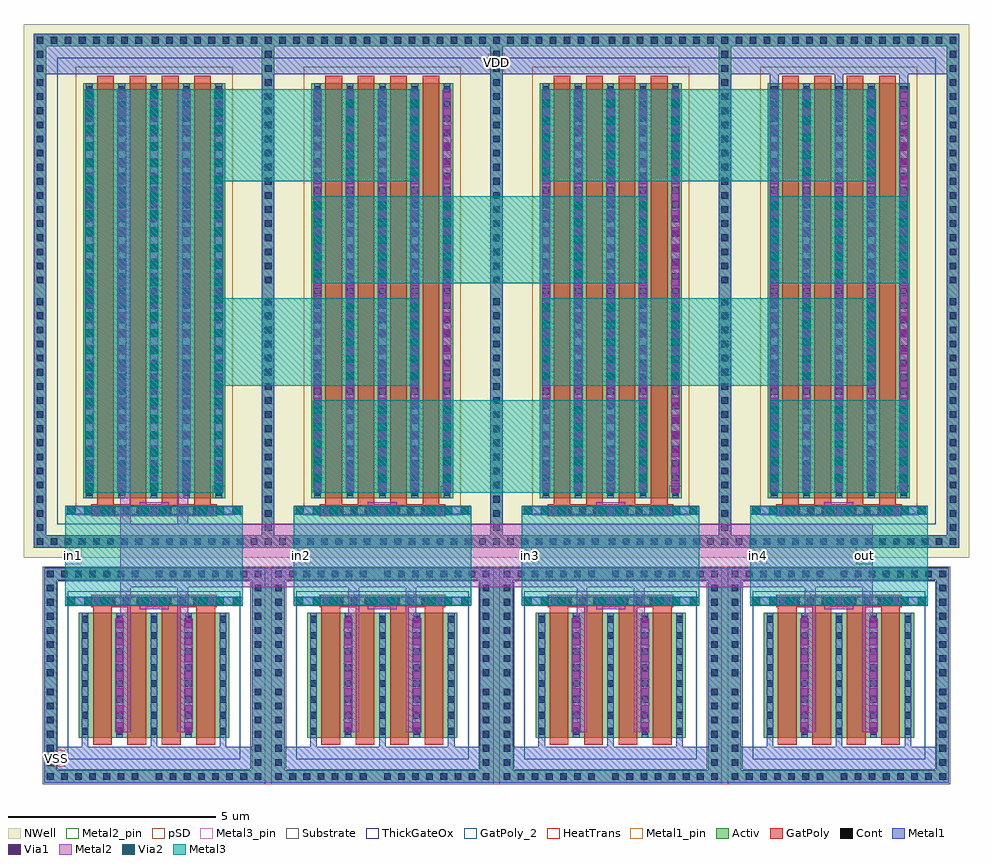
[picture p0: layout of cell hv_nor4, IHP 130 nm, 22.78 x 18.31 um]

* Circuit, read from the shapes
.subckt hv_nor4 VDD VSS in1 in2 in3 in4 out
XM1 out in1 VSS VSS sg13_hv_nmos w=3u l=0.45u m=4
XM2 out in2 VSS VSS sg13_hv_nmos w=3u l=0.45u m=4
XM3 out in3 VSS VSS sg13_hv_nmos w=3u l=0.45u m=4
XM4 out in4 VSS VSS sg13_hv_nmos w=3u l=0.45u m=4
XM5 out in1 n1 VDD sg13_hv_pmos w=10u l=0.4u m=4
XM6 n1 in2 n2 VDD sg13_hv_pmos w=10u l=0.4u m=4
XM7 n2 in3 n3 VDD sg13_hv_pmos w=10u l=0.4u m=4
XM8 n3 in4 VDD VDD sg13_hv_pmos w=10u l=0.4u m=4
.ends

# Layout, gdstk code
from math import pi, radians
import gdstk
lib = gdstk.Library(unit=1e-6, precision=1e-09)
def R(c, l, rs):  # rectangles x0, y0, x1, y1
    for r in rs: c.add(gdstk.rectangle(r[:2], r[2:], *l))
def A(c, l, x, y, w, h, nx, ny, dx, dy):  # array of equal rectangles
    R(c, l, [(x+i*dx, y+j*dy, x+i*dx+w, y+j*dy+h) for i in range(nx) for j in range(ny)])
def P(c, l, *ps):  # polygons
    for p in ps: c.add(gdstk.Polygon(p, *l))
Activ = (1, 0)
GatPoly = (5, 0)
GatPoly_2 = (5, 2)
Cont = (6, 0)
Metal1 = (8, 0)
Metal1_pin = (8, 2)
Metal2 = (10, 0)
Metal2_pin = (10, 2)
pSD = (14, 0)
Via1 = (19, 0)
Via2 = (29, 0)
Metal3 = (30, 0)
Metal3_pin = (30, 2)
NWell = (31, 0)
Substrate = (40, 0)
ThickGateOx = (44, 0)
HeatTrans = (51, 0)

via_stack_1 = lib.new_cell('via_stack$1')
R(via_stack_1, Metal1, [(-0.105,-4.86,0.105,4.86)])
R(via_stack_1, Metal2, [(-0.1,-4.86,0.1,4.86)])
A(via_stack_1, Via1, -0.095, -4.81, 0.19, 0.19, 1, 24, 0, 0.41)

pmoshv = lib.new_cell('pmosHV')
A(pmoshv, Activ, 0, 0, 0.3, 0.3, 5, 1, 0.78, 0)
R(pmoshv, Activ, [(-1.19,-0.89,-0.89,10.89), (4.31,-0.89,4.61,10.89), (0,0,3.42,10), (-1.19,10.89,4.61,11.19)])
P(pmoshv, Activ, [(-1.19,-1.19),(-1.19,10.89),(-0.89,10.89),(-0.89,-0.89),(4.31,-0.89),(4.31,10.89),(-1.19,10.89),(-1.19,11.19),(4.61,11.19),(4.61,-1.19)])
A(pmoshv, GatPoly, 0.34, -0.18, 0.4, 10.36, 4, 1, 0.78, 0)
R(pmoshv, GatPoly_2, [(0.34,-0.18,0.74,10.18)])
A(pmoshv, Cont, -1.12, -1.12, 0.16, 0.16, 8, 2, 0.34, 12.08)
A(pmoshv, Cont, 1.66, -1.12, 0.16, 0.16, 9, 2, 0.34, 12.08)
A(pmoshv, Cont, -1.12, -0.78, 0.16, 0.16, 1, 17, 0, 0.34)
A(pmoshv, Cont, 4.38, -0.78, 0.16, 0.16, 1, 17, 0, 0.34)
A(pmoshv, Cont, 0.07, 0.07, 0.16, 0.16, 5, 4, 0.78, 0.345)
A(pmoshv, Cont, 0.07, 1.455, 0.16, 0.16, 5, 3, 0.78, 0.345)
A(pmoshv, Cont, 0.07, 2.495, 0.16, 0.16, 5, 4, 0.78, 0.345)
A(pmoshv, Cont, 0.07, 3.88, 0.16, 0.16, 5, 3, 0.78, 0.345)
A(pmoshv, Cont, 0.07, 4.92, 0.16, 0.16, 5, 4, 0.78, 0.345)
A(pmoshv, Cont, -1.12, 5.18, 0.16, 0.16, 1, 17, 0, 0.34)
A(pmoshv, Cont, 4.38, 5.18, 0.16, 0.16, 1, 17, 0, 0.34)
A(pmoshv, Cont, 0.07, 6.305, 0.16, 0.16, 5, 3, 0.78, 0.345)
A(pmoshv, Cont, 0.07, 7.345, 0.16, 0.16, 5, 4, 0.78, 0.345)
A(pmoshv, Cont, 0.07, 8.73, 0.16, 0.16, 5, 3, 0.78, 0.345)
A(pmoshv, Cont, 0.07, 9.77, 0.16, 0.16, 5, 1, 0.78, 0)
A(pmoshv, Metal1, 0.07, 0, 0.16, 10, 5, 1, 0.78, 0)
R(pmoshv, Metal1, [(-1.19,-1.19,4.61,-0.89), (-1.19,-0.89,-0.89,10.89), (4.31,-0.89,4.61,10.89), (-1.19,10.89,4.61,11.19)])
R(pmoshv, Metal1_pin, [(0.07,0,0.23,10), (0.85,0,1.01,10)])
R(pmoshv, pSD, [(-0.18,-0.4,3.6,10.4)])
R(pmoshv, NWell, [(-1.43,-1.43,4.85,11.43), (-0.62,-0.62,4.04,10.62)])
R(pmoshv, Substrate, [(3.12,0,3.42,0.3)])
R(pmoshv, ThickGateOx, [(-0.62,-0.62,4.04,10.62)])
A(pmoshv, HeatTrans, 0.34, -0.18, 0.4, 10.36, 4, 1, 0.78, 0)
pmoshv.add(gdstk.Label('pmosHV', (0.54,5), layer=63, texttype=0))
pmoshv.add(gdstk.Label('well', (1.71,-1.04), layer=63, texttype=0))
pmoshv.add(gdstk.Label('pmos', (0.54,5), layer=51, texttype=0))
pmoshv.add(gdstk.Label('pmos', (1.32,5), layer=51, texttype=0))
pmoshv.add(gdstk.Label('pmos', (2.1,5), layer=51, texttype=0))
pmoshv.add(gdstk.Label('pmos', (2.88,5), layer=51, texttype=0))

via_stack_5 = lib.new_cell('via_stack$5')
R(via_stack_5, Metal1, [(-0.105,-4.86,0.105,4.86)])
R(via_stack_5, Metal2, [(-0.1,-4.86,0.1,4.86)])
A(via_stack_5, Via1, -0.095, -4.81, 0.19, 0.19, 1, 24, 0, 0.41)
A(via_stack_5, Via2, -0.095, -4.81, 0.19, 0.19, 1, 24, 0, 0.41)
R(via_stack_5, Metal3, [(-0.1,-4.86,0.1,4.86)])

via_stack_12 = lib.new_cell('via_stack$12')
R(via_stack_12, Metal2, [(-0.1,-0.965,0.1,0.965)])
A(via_stack_12, Via2, -0.095, -0.915, 0.19, 0.19, 1, 5, 0, 0.41)
R(via_stack_12, Metal3, [(-0.1,-0.965,0.1,0.965)])

nmoshv = lib.new_cell('nmosHV')
A(nmoshv, Activ, 0, 0, 0.3, 0.3, 5, 1, 0.83, 0)
R(nmoshv, Activ, [(-0.84,-0.79,-0.54,3.79), (4.16,-0.79,4.46,3.79), (0,0,3.62,3), (-0.84,3.79,4.46,4.09)])
P(nmoshv, Activ, [(-0.84,-1.09),(-0.84,3.79),(-0.54,3.79),(-0.54,-0.79),(4.16,-0.79),(4.16,3.79),(-0.84,3.79),(-0.84,4.09),(4.46,4.09),(4.46,-1.09)])
A(nmoshv, GatPoly, 0.34, -0.18, 0.45, 3.36, 4, 1, 0.83, 0)
R(nmoshv, GatPoly_2, [(0.34,-0.18,0.79,3.18)])
A(nmoshv, Cont, -0.77, -1.02, 0.16, 0.16, 7, 2, 0.34, 4.88)
A(nmoshv, Cont, 1.85, -1.02, 0.16, 0.16, 8, 2, 0.34, 4.88)
A(nmoshv, Cont, -0.77, -0.68, 0.16, 0.16, 1, 6, 0, 0.34)
A(nmoshv, Cont, 4.23, -0.68, 0.16, 0.16, 1, 6, 0, 0.34)
A(nmoshv, Cont, 0.07, 0.07, 0.16, 0.16, 5, 7, 0.83, 0.385)
A(nmoshv, Cont, -0.77, 1.48, 0.16, 0.16, 1, 7, 0, 0.34)
A(nmoshv, Cont, 4.23, 1.48, 0.16, 0.16, 1, 7, 0, 0.34)
A(nmoshv, Cont, 0.07, 2.77, 0.16, 0.16, 5, 1, 0.83, 0)
A(nmoshv, Metal1, 0.07, 0, 0.16, 3, 5, 1, 0.83, 0)
R(nmoshv, Metal1, [(-0.84,-1.09,4.46,-0.79), (-0.84,-0.79,-0.54,3.79), (4.16,-0.79,4.46,3.79), (-0.84,3.79,4.46,4.09)])
R(nmoshv, Metal1_pin, [(0.07,0,0.23,3), (0.9,0,1.06,3)])
R(nmoshv, pSD, [(-0.87,-0.76,-0.51,3.76), (4.13,-0.76,4.49,3.76), (-0.87,3.76,4.49,4.12)])
P(nmoshv, pSD, [(-0.87,-1.12),(-0.87,3.76),(-0.51,3.76),(-0.51,-0.76),(4.13,-0.76),(4.13,3.76),(-0.87,3.76),(-0.87,4.12),(4.49,4.12),(4.49,-1.12)])
R(nmoshv, Substrate, [(-0.87,-0.76,-0.51,3.76), (4.13,-0.76,4.49,3.76), (-0.87,3.76,4.49,4.12)])
P(nmoshv, Substrate, [(-0.87,-1.12),(-0.87,3.76),(-0.51,3.76),(-0.51,-0.76),(4.13,-0.76),(4.13,3.76),(-0.87,3.76),(-0.87,4.12),(4.49,4.12),(4.49,-1.12)])
R(nmoshv, ThickGateOx, [(-0.27,-0.52,3.89,3.52)])
A(nmoshv, HeatTrans, 0.34, -0.18, 0.45, 3.36, 4, 1, 0.83, 0)
nmoshv.add(gdstk.Label('nmosHV', (0.565,1.5), layer=63, texttype=0))
nmoshv.add(gdstk.Label('sub!', (1.81,-0.94), layer=63, texttype=0))
nmoshv.add(gdstk.Label('nmosHV', (0.565,1.5), layer=51, texttype=0))
nmoshv.add(gdstk.Label('nmosHV', (1.395,1.5), layer=51, texttype=0))
nmoshv.add(gdstk.Label('nmosHV', (2.225,1.5), layer=51, texttype=0))
nmoshv.add(gdstk.Label('nmosHV', (3.055,1.5), layer=51, texttype=0))

via_stack_4 = lib.new_cell('via_stack$4')
R(via_stack_4, Metal1, [(-0.105,-0.555,0.105,0.555)])
R(via_stack_4, Metal2, [(-0.1,-0.555,0.1,0.555)])
A(via_stack_4, Via1, -0.095, -0.505, 0.19, 0.19, 1, 3, 0, 0.41)
A(via_stack_4, Via2, -0.095, -0.505, 0.19, 0.19, 1, 3, 0, 0.41)
R(via_stack_4, Metal3, [(-0.1,-0.555,0.1,0.555)])

via_stack = lib.new_cell('via_stack')
R(via_stack, Metal1, [(-0.105,-1.375,0.105,1.375)])
R(via_stack, Metal2, [(-0.1,-1.375,0.1,1.375)])
A(via_stack, Via1, -0.095, -1.325, 0.19, 0.19, 1, 7, 0, 0.41)

via_stack_2 = lib.new_cell('via_stack$2')
R(via_stack_2, GatPoly, [(-0.15,-1.51,0.15,1.51)])
A(via_stack_2, Cont, -0.08, -1.44, 0.16, 0.16, 1, 9, 0, 0.34)
R(via_stack_2, Metal1, [(-0.08,-1.49,0.08,1.49)])

via_stack_3 = lib.new_cell('via_stack$3')
R(via_stack_3, Metal1, [(-0.105,-0.35,0.105,0.35)])
R(via_stack_3, Metal2, [(-0.1,-0.35,0.1,0.35)])
R(via_stack_3, Via1, [(-0.095,-0.3,0.095,-0.11), (-0.095,0.11,0.095,0.3)])
R(via_stack_3, Via2, [(-0.095,-0.3,0.095,-0.11), (-0.095,0.11,0.095,0.3)])
R(via_stack_3, Metal3, [(-0.1,-0.35,0.1,0.35)])

hv_nor4 = lib.new_cell('hv_nor4')
A(hv_nor4, Activ, 2.65, -5.47, 0.2, 5.18, 3, 1, 5.5, 0)
A(hv_nor4, Metal1, 2.65, -5.47, 0.2, 5.18, 3, 1, 5.5, 0)
A(hv_nor4, Metal1, -2.35, -5.17, 4.7, 0.57, 4, 1, 5.5, 0)
A(hv_nor4, Metal1, -1.74, -4.6, 0.16, 0.22, 3, 1, 1.66, 0)
A(hv_nor4, Metal1, 3.76, -4.6, 0.16, 0.22, 3, 1, 1.66, 0)
A(hv_nor4, Metal1, 9.26, -4.6, 0.16, 0.22, 3, 1, 1.66, 0)
A(hv_nor4, Metal1, 14.76, -4.6, 0.16, 0.22, 3, 1, 1.66, 0)
A(hv_nor4, Metal1, -2.14, -1.2, 4.28, 0.21, 4, 2, 5.5, 2.19)
A(hv_nor4, Metal1, 14.835, 11.24, 0.21, 0.36, 3, 1, 1.56, 0)
A(hv_nor4, Metal1, -2.6, 11.6, 5.2, 0.67, 4, 1, 5.5, 0)
R(hv_nor4, Metal1_pin, [(-2.555,-5.09,-2.155,-4.69), (8.05,11.69,8.45,12.09)])
A(hv_nor4, Metal2, -0.35, -1.29, 0.7, 0.295, 4, 2, 5.5, 2.285)
A(hv_nor4, Metal2, 3.84, 1.52, 0.2, 9.72, 5, 1, 0.78, 0)
A(hv_nor4, Metal2, 9.34, 1.52, 0.2, 9.72, 5, 1, 0.78, 0)
A(hv_nor4, Metal2, 14.84, 1.52, 0.2, 9.72, 5, 1, 0.78, 0)
R(hv_nor4, Metal2, [(-0.82,-4.255,-0.56,11.24), (0.56,-4.255,0.82,11.24), (4.68,-4.255,4.94,0.755), (6.06,-4.255,6.32,0.755), (10.18,-4.255,10.44,0.755), (11.56,-4.255,11.82,0.755), (15.68,-4.255,15.94,0.755), (17.06,-4.255,17.32,0.755), (-0.82,-0.755,17.32,0.755)])
R(hv_nor4, Metal2_pin, [(16.92,-0.2,17.32,0.2)])
A(hv_nor4, pSD, 2.68, -5.5, 0.14, 5.24, 3, 1, 5.5, 0)
A(hv_nor4, Metal3, -2.14, -1.195, 4.28, 2.39, 4, 1, 5.5, 0)
R(hv_nor4, Metal3, [(-1.66,1.52,1.66,11.24), (3.84,1.52,7.16,3.74), (7.16,1.52,10.12,3.74), (10.12,1.52,11.88,3.74), (14.84,1.52,18.16,3.74), (1.66,4.1,4.62,6.2), (4.62,4.1,6.38,6.2), (9.34,4.1,12.66,6.2), (12.66,4.1,15.62,6.2), (15.62,4.1,17.38,6.2), (3.84,6.56,7.16,8.66), (7.16,6.56,10.12,8.66), (10.12,6.56,11.88,8.66), (14.84,6.56,18.16,8.66), (1.66,9.02,4.62,11.24), (4.62,9.02,6.38,11.24), (9.34,9.02,12.66,11.24), (12.66,9.02,15.62,11.24), (15.62,9.02,17.38,11.24)])
A(hv_nor4, Metal3_pin, -2.14, -0.2, 0.4, 0.4, 4, 1, 5.5, 0)
A(hv_nor4, ThickGateOx, 2.33, 0.76, 0.84, 11.24, 3, 1, 5.5, 0)
hv_nor4.add(gdstk.Reference(via_stack_1, (0.78,6.38), rotation=pi))
hv_nor4.add(gdstk.Reference(via_stack_1, (-0.78,6.38), rotation=pi))
hv_nor4.add(gdstk.Reference(pmoshv, (-1.71,1.38)))
hv_nor4.add(gdstk.Reference(via_stack_5, (-1.56,6.38), rotation=pi))
hv_nor4.add(gdstk.Reference(via_stack_5, (0,6.38), rotation=pi))
hv_nor4.add(gdstk.Reference(via_stack_5, (1.56,6.38), rotation=pi))
hv_nor4.add(gdstk.Reference(via_stack_1, (3.94,6.38), rotation=pi))
hv_nor4.add(gdstk.Reference(pmoshv, (3.79,1.38)))
hv_nor4.add(gdstk.Reference(via_stack_1, (4.72,6.38), rotation=pi))
hv_nor4.add(gdstk.Reference(via_stack_1, (5.5,6.38), rotation=pi))
hv_nor4.add(gdstk.Reference(via_stack_1, (6.28,6.38), rotation=pi))
hv_nor4.add(gdstk.Reference(via_stack_1, (7.06,6.38), rotation=pi))
hv_nor4.add(gdstk.Reference(via_stack_1, (9.44,6.38), rotation=pi, x_reflection=True))
hv_nor4.add(gdstk.Reference(via_stack_1, (14.94,6.38), rotation=pi))
hv_nor4.add(gdstk.Reference(pmoshv, (9.29,1.38)))
hv_nor4.add(gdstk.Reference(pmoshv, (14.79,1.38)))
hv_nor4.add(gdstk.Reference(via_stack_1, (10.22,6.38), rotation=pi, x_reflection=True))
hv_nor4.add(gdstk.Reference(via_stack_1, (15.72,6.38), rotation=pi))
hv_nor4.add(gdstk.Reference(via_stack_1, (11,6.38), rotation=pi, x_reflection=True))
hv_nor4.add(gdstk.Reference(via_stack_1, (16.5,6.38), rotation=pi))
hv_nor4.add(gdstk.Reference(via_stack_1, (11.78,6.38), rotation=pi, x_reflection=True))
hv_nor4.add(gdstk.Reference(via_stack_1, (17.28,6.38), rotation=pi))
hv_nor4.add(gdstk.Reference(via_stack_1, (12.56,6.38), rotation=pi, x_reflection=True))
hv_nor4.add(gdstk.Reference(via_stack_1, (18.06,6.38), rotation=pi))
hv_nor4.add(gdstk.Reference(via_stack_12, (14.94,7.61), rotation=pi))
hv_nor4.add(gdstk.Reference(via_stack_12, (15.72,10.07), rotation=pi))
hv_nor4.add(gdstk.Reference(via_stack_12, (11,5.15), rotation=pi, x_reflection=True))
hv_nor4.add(gdstk.Reference(via_stack_12, (16.5,7.61), rotation=pi))
hv_nor4.add(gdstk.Reference(via_stack_12, (17.28,10.07), rotation=pi))
hv_nor4.add(gdstk.Reference(via_stack_12, (12.56,5.15), rotation=pi, x_reflection=True))
hv_nor4.add(gdstk.Reference(via_stack_12, (18.06,7.61), rotation=pi))
hv_nor4.add(gdstk.Reference(via_stack_12, (11,10.07), rotation=pi, x_reflection=True))
hv_nor4.add(gdstk.Reference(via_stack_12, (11.78,7.61), rotation=pi, x_reflection=True))
hv_nor4.add(gdstk.Reference(via_stack_12, (17.28,5.15), rotation=pi))
hv_nor4.add(gdstk.Reference(via_stack_12, (12.56,10.07), rotation=pi, x_reflection=True))
hv_nor4.add(gdstk.Reference(via_stack_12, (10.22,7.61), rotation=pi, x_reflection=True))
hv_nor4.add(gdstk.Reference(via_stack_12, (15.72,5.15), rotation=pi))
hv_nor4.add(gdstk.Reference(via_stack_12, (9.44,10.07), rotation=pi, x_reflection=True))
hv_nor4.add(gdstk.Reference(via_stack_12, (9.44,5.15), rotation=pi, x_reflection=True))
hv_nor4.add(gdstk.Reference(via_stack_12, (4.72,10.07), rotation=pi))
hv_nor4.add(gdstk.Reference(via_stack_12, (5.5,7.61), rotation=pi))
hv_nor4.add(gdstk.Reference(via_stack_12, (6.28,10.07), rotation=pi))
hv_nor4.add(gdstk.Reference(via_stack_12, (7.06,7.61), rotation=pi))
hv_nor4.add(gdstk.Reference(via_stack_12, (6.28,5.15), rotation=pi))
hv_nor4.add(gdstk.Reference(via_stack_12, (4.72,5.15), rotation=pi))
hv_nor4.add(gdstk.Reference(via_stack_12, (3.94,7.61), rotation=pi))
hv_nor4.add(gdstk.Reference(nmoshv, (-1.81,-4.38)))
hv_nor4.add(gdstk.Reference(via_stack_4, (-1.585,1.095), rotation=3*pi/2, x_reflection=True))
hv_nor4.add(gdstk.Reference(via_stack_4, (1.585,1.095), rotation=3*pi/2, x_reflection=True))
hv_nor4.add(gdstk.Reference(via_stack, (0.83,-2.88)))
hv_nor4.add(gdstk.Reference(nmoshv, (3.69,-4.38)))
hv_nor4.add(gdstk.Reference(via_stack, (6.33,-2.88)))
hv_nor4.add(gdstk.Reference(via_stack, (-0.83,-2.88)))
hv_nor4.add(gdstk.Reference(via_stack_2, (5.5,-1.095), rotation=pi/2))
hv_nor4.add(gdstk.Reference(via_stack_2, (0,-1.095), rotation=pi/2))
hv_nor4.add(gdstk.Reference(via_stack_3, (5.5,-1.095), rotation=pi/2))
hv_nor4.add(gdstk.Reference(via_stack_4, (3.915,-1.095), rotation=pi/2))
hv_nor4.add(gdstk.Reference(via_stack_2, (0,1.095), rotation=pi/2))
hv_nor4.add(gdstk.Reference(via_stack_4, (7.085,-1.095), rotation=pi/2))
hv_nor4.add(gdstk.Reference(via_stack_3, (5.5,1.095), rotation=3*pi/2, x_reflection=True))
hv_nor4.add(gdstk.Reference(via_stack_4, (3.915,1.095), rotation=3*pi/2, x_reflection=True))
hv_nor4.add(gdstk.Reference(via_stack_4, (7.085,1.095), rotation=3*pi/2, x_reflection=True))
hv_nor4.add(gdstk.Reference(via_stack_12, (5.5,2.69), rotation=pi))
hv_nor4.add(gdstk.Reference(via_stack_2, (5.5,1.095), rotation=pi/2))
hv_nor4.add(gdstk.Reference(via_stack, (4.67,-2.88)))
hv_nor4.add(gdstk.Reference(via_stack_12, (7.06,2.69), rotation=pi))
hv_nor4.add(gdstk.Reference(via_stack_12, (3.94,2.69), rotation=pi))
hv_nor4.add(gdstk.Reference(via_stack_3, (0,-1.095), rotation=pi/2))
hv_nor4.add(gdstk.Reference(via_stack_4, (-1.585,-1.095), rotation=pi/2))
hv_nor4.add(gdstk.Reference(via_stack_4, (1.585,-1.095), rotation=pi/2))
hv_nor4.add(gdstk.Reference(via_stack_3, (0,1.095), rotation=3*pi/2, x_reflection=True))
hv_nor4.add(gdstk.Reference(via_stack_4, (9.415,-1.095), rotation=pi/2))
hv_nor4.add(gdstk.Reference(via_stack_4, (14.915,-1.095), rotation=pi/2))
hv_nor4.add(gdstk.Reference(via_stack_4, (12.585,-1.095), rotation=pi/2))
hv_nor4.add(gdstk.Reference(via_stack_4, (18.085,-1.095), rotation=pi/2))
hv_nor4.add(gdstk.Reference(via_stack_3, (11,1.095), rotation=3*pi/2, x_reflection=True))
hv_nor4.add(gdstk.Reference(via_stack_3, (16.5,1.095), rotation=3*pi/2, x_reflection=True))
hv_nor4.add(gdstk.Reference(via_stack_4, (9.415,1.095), rotation=3*pi/2, x_reflection=True))
hv_nor4.add(gdstk.Reference(via_stack_4, (14.915,1.095), rotation=3*pi/2, x_reflection=True))
hv_nor4.add(gdstk.Reference(via_stack_4, (12.585,1.095), rotation=3*pi/2, x_reflection=True))
hv_nor4.add(gdstk.Reference(via_stack_4, (18.085,1.095), rotation=3*pi/2, x_reflection=True))
hv_nor4.add(gdstk.Reference(via_stack_12, (18.06,2.69), rotation=pi))
hv_nor4.add(gdstk.Reference(via_stack_12, (14.94,2.69), rotation=pi))
hv_nor4.add(gdstk.Reference(nmoshv, (9.19,-4.38)))
hv_nor4.add(gdstk.Reference(via_stack_2, (11,1.095), rotation=pi/2))
hv_nor4.add(gdstk.Reference(via_stack_2, (16.5,1.095), rotation=pi/2))
hv_nor4.add(gdstk.Reference(nmoshv, (14.69,-4.38)))
hv_nor4.add(gdstk.Reference(via_stack_12, (10.22,2.69), rotation=pi, x_reflection=True))
hv_nor4.add(gdstk.Reference(via_stack, (11.83,-2.88)))
hv_nor4.add(gdstk.Reference(via_stack, (17.33,-2.88)))
hv_nor4.add(gdstk.Reference(via_stack_12, (11.78,2.69), rotation=pi, x_reflection=True))
hv_nor4.add(gdstk.Reference(via_stack_12, (16.5,2.69), rotation=pi))
hv_nor4.add(gdstk.Reference(via_stack, (10.17,-2.88)))
hv_nor4.add(gdstk.Reference(via_stack, (15.67,-2.88)))
hv_nor4.add(gdstk.Reference(via_stack_2, (11,-1.095), rotation=pi/2))
hv_nor4.add(gdstk.Reference(via_stack_2, (16.5,-1.095), rotation=pi/2))
hv_nor4.add(gdstk.Reference(via_stack_3, (11,-1.095), rotation=pi/2))
hv_nor4.add(gdstk.Reference(via_stack_3, (16.5,-1.095), rotation=pi/2))
hv_nor4.add(gdstk.Label('out', (17.12,0), layer=10, texttype=25))
hv_nor4.add(gdstk.Label('in2', (3.56,0), layer=30, texttype=25))
hv_nor4.add(gdstk.Label('in1', (-1.94,0), layer=30, texttype=25))
hv_nor4.add(gdstk.Label('in3', (9.06,0), layer=30, texttype=25))
hv_nor4.add(gdstk.Label('in4', (14.56,0), layer=30, texttype=25))
hv_nor4.add(gdstk.Label('VDD', (8.25,11.89), layer=8, texttype=25))
hv_nor4.add(gdstk.Label('VSS', (-2.355,-4.89), layer=8, texttype=25))

lib.write_gds('hv_nor4.gds')
